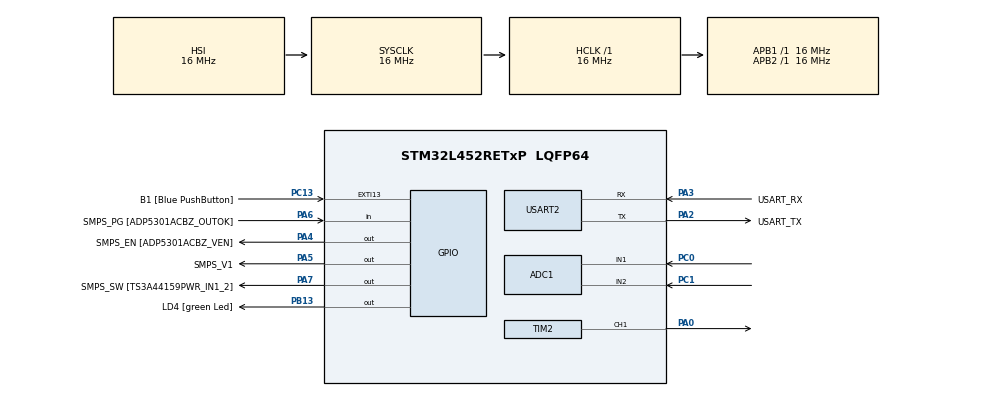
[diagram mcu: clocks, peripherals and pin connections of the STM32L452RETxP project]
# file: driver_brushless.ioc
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ADC1.Channel-1\#ChannelRegularConversion=ADC_CHANNEL_2
ADC1.NbrOfConversionFlag=1
ADC1.OffsetNumber-1\#ChannelRegularConversion=ADC_OFFSET_NONE
ADC1.Rank-1\#ChannelRegularConversion=1
ADC1.SamplingTime-1\#ChannelRegularConversion=ADC_SAMPLETIME_2CYCLES_5
ADC1.master=1
Mcu.Family=STM32L4
Mcu.Name=STM32L452RETxP
Mcu.Package=LQFP64
NVIC.PriorityGroup=NVIC_PRIORITYGROUP_4
PA0.Signal=S_TIM2_CH1
PA13\ (JTMS/SWDIO).GPIO_Label=TMS
PA13\ (JTMS/SWDIO).Mode=Serial_Wire
PA13\ (JTMS/SWDIO).Signal=SYS_JTMS-SWDIO
PA14\ (JTCK/SWCLK).GPIO_Label=TCK
PA14\ (JTCK/SWCLK).Mode=Serial_Wire
PA14\ (JTCK/SWCLK).Signal=SYS_JTCK-SWCLK
PA2.GPIO_Label=USART_TX
PA2.GPIO_Mode=GPIO_MODE_AF_PP
PA2.GPIO_PuPd=GPIO_NOPULL
PA2.GPIO_Speed=GPIO_SPEED_FREQ_VERY_HIGH
PA2.Mode=Asynchronous
PA2.Signal=USART2_TX
PA3.GPIO_Label=USART_RX
PA3.GPIO_Mode=GPIO_MODE_AF_PP
PA3.GPIO_PuPd=GPIO_NOPULL
PA3.GPIO_Speed=GPIO_SPEED_FREQ_VERY_HIGH
PA3.Mode=Asynchronous
PA3.Signal=USART2_RX
PA4.GPIO_Label=SMPS_EN [ADP5301ACBZ_VEN]
PA4.Signal=GPIO_Output
PA5.GPIO_Label=SMPS_V1
PA5.GPIO_ModeDefaultOutputPP=GPIO_MODE_OUTPUT_PP
PA5.GPIO_PuPd=GPIO_NOPULL
PA5.GPIO_Speed=GPIO_SPEED_FREQ_LOW
PA5.Signal=GPIO_Output
PA6.GPIO_Label=SMPS_PG [ADP5301ACBZ_OUTOK]
PA6.GPIO_PuPd=GPIO_PULLUP
PA6.Signal=GPIO_Input
PA7.GPIO_Label=SMPS_SW [TS3A44159PWR_IN1_2]
PA7.Signal=GPIO_Output
PB13.GPIO_Label=LD4 [green Led]
PB13.Signal=GPIO_Output
PB3\ (JTDO/TRACESWO).GPIO_Label=SWO
PB3\ (JTDO/TRACESWO).Signal=SYS_JTDO-SWO
PC0.Signal=ADCx_IN1
PC1.Signal=ADCx_IN2
PC13.GPIO_Label=B1 [Blue PushButton]
PC13.GPIO_ModeDefaultEXTI=GPIO_MODE_IT_FALLING
PC13.GPIO_PuPd=GPIO_NOPULL
PC13.Signal=GPXTI13
PC14-OSC32_IN\ (PC14).Signal=RCC_OSC32_IN
PC15-OSC32_OUT\ (PC15).Signal=RCC_OSC32_OUT
PH0-OSC_IN\ (PH0).GPIO_Label=MCO
PH0-OSC_IN\ (PH0).Signal=RCC_OSC_IN
PH1-OSC_OUT\ (PH1).Signal=RCC_OSC_OUT
ProjectManager.HeapSize=0x200
ProjectManager.StackSize=0x400
ProjectManager.TargetToolchain=STM32CubeIDE
RCC.ADCFreq_Value=64000000
RCC.AHBFreq_Value=16000000
RCC.APB1Freq_Value=16000000
RCC.APB1TimFreq_Value=16000000
RCC.APB2Freq_Value=16000000
RCC.APB2TimFreq_Value=16000000
RCC.CortexFreq_Value=16000000
RCC.HCLKFreq_Value=16000000
RCC.HSE_VALUE=8000000
RCC.HSI48_VALUE=48000000
RCC.HSI_VALUE=16000000
RCC.LSE_VALUE=32768
RCC.MSI_VALUE=4000000
RCC.PLLN=10
RCC.PLLSourceVirtual=RCC_PLLSOURCE_HSI
RCC.PREFETCH_ENABLE=1
RCC.SYSCLKFreq_VALUE=16000000
RCC.SYSCLKSource=RCC_SYSCLKSOURCE_HSI
RCC.USBFreq_Value=64000000
RCC.VCOOutputFreq_Value=160000000
SH.ADCx_IN1.0=ADC1_IN1,IN1-Single-Ended
SH.ADCx_IN2.0=ADC1_IN2,IN2-Single-Ended
SH.S_TIM2_CH1.0=TIM2_CH1,PWM Generation1 CH1
TIM2.AutoReloadPreload=TIM_AUTORELOAD_PRELOAD_ENABLE
TIM2.Channel-PWM\ Generation1\ CH1=TIM_CHANNEL_1
TIM2.Period=65535
USART2.VirtualMode-Asynchronous=VM_ASYNC
VP_TIM2_VS_ClockSourceINT.Mode=Internal
board=NUCLEO-L452RE-P

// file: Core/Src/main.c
/* USER CODE BEGIN Header */
/**
  ******************************************************************************
  * @file           : main.c
  * @brief          : Main program body
  ******************************************************************************
  * @attention
  *
  * Copyright (c) 2023 STMicroelectronics.
  * All rights reserved.
  *
  * This software is licensed under terms that can be found in the LICENSE file
  * in the root directory of this software component.
  * If no LICENSE file comes with this software, it is provided AS-IS.
  *
  ******************************************************************************
  */
/* USER CODE END Header */
#include "main.h"

typedef struct
{
	GPIO_TypeDef * JoyStick_xGPIO;
	GPIO_TypeDef * JoyStick_yGPIO;
	uint16_t       JoyStick_xPIN;
	uint16_t       JoyStick_yPIN;
	ADC_TypeDef*   ADC_Instance;
	uint32_t       ADCx_CH;
	uint32_t       ADCy_CH;
}JoyStick_CfgType;

#define JoyStick1    	0
#define X				0 // potentiometrul de pe oX
#define Y				1 // potentiometrul de pe oY

ADC_HandleTypeDef hadc1;

TIM_HandleTypeDef htim2;

UART_HandleTypeDef huart2;

/* USER CODE BEGIN PV */
ADC_ChannelConfTypeDef sConfig = {0};
uint8_t calibrated = 0;
/* USER CODE END PV */

void SystemClock_Config(void);
static void MX_GPIO_Init(void);
static void MX_USART2_UART_Init(void);
static void MX_TIM2_Init(void);
static void MX_ADC1_Init(void);
/* USER CODE BEGIN PFP */
uint16_t MAP(uint16_t val, uint16_t in_min, uint16_t in_max, uint16_t out_min, uint16_t out_max);
void JoyStick_Init(void);
void JoyStick_Read(uint16_t* JoyStick_XY);
/* USER CODE END PFP */

/* USER CODE BEGIN 0 */
const JoyStick_CfgType JoyStick_CfgParam =
{
	// JoyStick unit 1 Configurations
	// se completeaza cu datele pinilor de la care se face citirea
	GPIOC,
	GPIOC,
	GPIO_PIN_0,
	GPIO_PIN_1,
	ADC1,
	ADC_CHANNEL_1,
	ADC_CHANNEL_2
};
/* USER CODE END 0 */

/**
  * @brief  Comanda motor brushless cu ajutorul driverului Seaking 40A - RTR
  * @retval int
  */
int main(void)
{
  /* variabile locale */
  /* vector cu 2 elem (un elem pentru fiecare potentiometru) */
  uint16_t JoyStick1_XY[] = {0, 0};
  /* tON al PWM-ului */
  uint16_t CH1_DC = 0;

  /* MCU Configuration--------------------------------------------------------*/

  /* Reset of all peripherals, Initializes the Flash interface and the Systick. */
  HAL_Init();

  /* Configure the system clock */
  SystemClock_Config();

  /* Initialize all configured peripherals */
  MX_GPIO_Init();
  MX_USART2_UART_Init();
  MX_TIM2_Init();
  MX_ADC1_Init();
  /* USER CODE BEGIN 2 */
  HAL_TIM_PWM_Start(&htim2, TIM_CHANNEL_1);
  JoyStick_Init();
  /* USER CODE END 2 */

  while (1)
  {
	/* citirea valorilor potentiometrelor */
	JoyStick_Read(JoyStick1_XY);

	/* comanda PWM de pe oY */
	CH1_DC = JoyStick1_XY[X];
	TIM2->CCR1 = MAP(CH1_DC, 400, 2450, 0, 65535);

	/* transmitere PWM catre motor*/
	while(HAL_GPIO_ReadPin(GPIOA, GPIO_PIN_0))
		HAL_GPIO_WritePin(GPIOB, GPIO_PIN_13, GPIO_PIN_SET);

 	HAL_GPIO_WritePin(GPIOB, GPIO_PIN_13, GPIO_PIN_RESET);
  }
}

void SystemClock_Config(void)
{
  RCC_OscInitTypeDef RCC_OscInitStruct = {0};
  RCC_ClkInitTypeDef RCC_ClkInitStruct = {0};

  /** Configure the main internal regulator output voltage
  */
  if (HAL_PWREx_ControlVoltageScaling(PWR_REGULATOR_VOLTAGE_SCALE1) != HAL_OK)
  {
    Error_Handler();
  }

  /** Initializes the RCC Oscillators according to the specified parameters
  * in the RCC_OscInitTypeDef structure.
  */
  RCC_OscInitStruct.OscillatorType = RCC_OSCILLATORTYPE_HSI;
  RCC_OscInitStruct.HSIState = RCC_HSI_ON;
  RCC_OscInitStruct.HSICalibrationValue = RCC_HSICALIBRATION_DEFAULT;
  RCC_OscInitStruct.PLL.PLLState = RCC_PLL_NONE;
  if (HAL_RCC_OscConfig(&RCC_OscInitStruct) != HAL_OK)
  {
    Error_Handler();
  }

  /** Initializes the CPU, AHB and APB buses clocks
  */
  RCC_ClkInitStruct.ClockType = RCC_CLOCKTYPE_HCLK|RCC_CLOCKTYPE_SYSCLK
                              |RCC_CLOCKTYPE_PCLK1|RCC_CLOCKTYPE_PCLK2;
  RCC_ClkInitStruct.SYSCLKSource = RCC_SYSCLKSOURCE_HSI;
  RCC_ClkInitStruct.AHBCLKDivider = RCC_SYSCLK_DIV1;
  RCC_ClkInitStruct.APB1CLKDivider = RCC_HCLK_DIV1;
  RCC_ClkInitStruct.APB2CLKDivider = RCC_HCLK_DIV1;

  if (HAL_RCC_ClockConfig(&RCC_ClkInitStruct, FLASH_LATENCY_0) != HAL_OK)
  {
    Error_Handler();
  }
}

static void MX_ADC1_Init(void)
{

  ADC_ChannelConfTypeDef sConfig = {0};

  /** Common config
  */
  hadc1.Instance = ADC1;
  hadc1.Init.ClockPrescaler = ADC_CLOCK_ASYNC_DIV1;
  hadc1.Init.Resolution = ADC_RESOLUTION_12B;
  hadc1.Init.DataAlign = ADC_DATAALIGN_RIGHT;
  hadc1.Init.ScanConvMode = ADC_SCAN_DISABLE;
  hadc1.Init.EOCSelection = ADC_EOC_SINGLE_CONV;
  hadc1.Init.LowPowerAutoWait = DISABLE;
  hadc1.Init.ContinuousConvMode = DISABLE;
  hadc1.Init.NbrOfConversion = 1;
  hadc1.Init.DiscontinuousConvMode = DISABLE;
  hadc1.Init.ExternalTrigConv = ADC_SOFTWARE_START;
  hadc1.Init.ExternalTrigConvEdge = ADC_EXTERNALTRIGCONVEDGE_NONE;
  hadc1.Init.DMAContinuousRequests = DISABLE;
  hadc1.Init.Overrun = ADC_OVR_DATA_PRESERVED;
  hadc1.Init.OversamplingMode = DISABLE;
  hadc1.Init.DFSDMConfig = ADC_DFSDM_MODE_ENABLE;
  if (HAL_ADC_Init(&hadc1) != HAL_OK)
  {
    Error_Handler();
  }

  /** Configure Regular Channel
  */
  sConfig.Channel = ADC_CHANNEL_2;
  sConfig.Rank = ADC_REGULAR_RANK_1;
  sConfig.SamplingTime = ADC_SAMPLETIME_2CYCLES_5;
  sConfig.SingleDiff = ADC_SINGLE_ENDED;
  sConfig.OffsetNumber = ADC_OFFSET_NONE;
  sConfig.Offset = 0;
  if (HAL_ADC_ConfigChannel(&hadc1, &sConfig) != HAL_OK)
  {
    Error_Handler();
  }

}

static void MX_TIM2_Init(void)
{

  TIM_ClockConfigTypeDef sClockSourceConfig = {0};
  TIM_MasterConfigTypeDef sMasterConfig = {0};
  TIM_OC_InitTypeDef sConfigOC = {0};

  htim2.Instance = TIM2;
  htim2.Init.Prescaler = 0;
  htim2.Init.CounterMode = TIM_COUNTERMODE_UP;
  htim2.Init.Period = 65535;
  htim2.Init.ClockDivision = TIM_CLOCKDIVISION_DIV1;
  htim2.Init.AutoReloadPreload = TIM_AUTORELOAD_PRELOAD_ENABLE;
  if (HAL_TIM_Base_Init(&htim2) != HAL_OK)
  {
    Error_Handler();
  }
  sClockSourceConfig.ClockSource = TIM_CLOCKSOURCE_INTERNAL;
  if (HAL_TIM_ConfigClockSource(&htim2, &sClockSourceConfig) != HAL_OK)
  {
    Error_Handler();
  }
  if (HAL_TIM_PWM_Init(&htim2) != HAL_OK)
  {
    Error_Handler();
  }
  sMasterConfig.MasterOutputTrigger = TIM_TRGO_RESET;
  sMasterConfig.MasterSlaveMode = TIM_MASTERSLAVEMODE_DISABLE;
  if (HAL_TIMEx_MasterConfigSynchronization(&htim2, &sMasterConfig) != HAL_OK)
  {
    Error_Handler();
  }
  sConfigOC.OCMode = TIM_OCMODE_PWM1;
  sConfigOC.Pulse = 0;
  sConfigOC.OCPolarity = TIM_OCPOLARITY_HIGH;
  sConfigOC.OCFastMode = TIM_OCFAST_DISABLE;
  if (HAL_TIM_PWM_ConfigChannel(&htim2, &sConfigOC, TIM_CHANNEL_1) != HAL_OK)
  {
    Error_Handler();
  }
  HAL_TIM_MspPostInit(&htim2);

}

static void MX_USART2_UART_Init(void)
{

  huart2.Instance = USART2;
  huart2.Init.BaudRate = 115200;
  huart2.Init.WordLength = UART_WORDLENGTH_8B;
  huart2.Init.StopBits = UART_STOPBITS_1;
  huart2.Init.Parity = UART_PARITY_NONE;
  huart2.Init.Mode = UART_MODE_TX_RX;
  huart2.Init.HwFlowCtl = UART_HWCONTROL_NONE;
  huart2.Init.OverSampling = UART_OVERSAMPLING_16;
  huart2.Init.OneBitSampling = UART_ONE_BIT_SAMPLE_DISABLE;
  huart2.AdvancedInit.AdvFeatureInit = UART_ADVFEATURE_NO_INIT;
  if (HAL_UART_Init(&huart2) != HAL_OK)
  {
    Error_Handler();
  }

}

static void MX_GPIO_Init(void)
{
  GPIO_InitTypeDef GPIO_InitStruct = {0};

  /* GPIO Ports Clock Enable */
  __HAL_RCC_GPIOC_CLK_ENABLE();
  __HAL_RCC_GPIOH_CLK_ENABLE();
  __HAL_RCC_GPIOA_CLK_ENABLE();
  __HAL_RCC_GPIOB_CLK_ENABLE();

  /*Configure GPIO pin Output Level */
  HAL_GPIO_WritePin(GPIOA, SMPS_EN_Pin|SMPS_V1_Pin|SMPS_SW_Pin, GPIO_PIN_RESET);

  /*Configure GPIO pin Output Level */
  HAL_GPIO_WritePin(LD4_GPIO_Port, LD4_Pin, GPIO_PIN_RESET);

  /*Configure GPIO pin : B1_Pin */
  GPIO_InitStruct.Pin = B1_Pin;
  GPIO_InitStruct.Mode = GPIO_MODE_IT_FALLING;
  GPIO_InitStruct.Pull = GPIO_NOPULL;
  HAL_GPIO_Init(B1_GPIO_Port, &GPIO_InitStruct);

  /*Configure GPIO pins : SMPS_EN_Pin SMPS_V1_Pin SMPS_SW_Pin */
  GPIO_InitStruct.Pin = SMPS_EN_Pin|SMPS_V1_Pin|SMPS_SW_Pin;
  GPIO_InitStruct.Mode = GPIO_MODE_OUTPUT_PP;
  GPIO_InitStruct.Pull = GPIO_NOPULL;
  GPIO_InitStruct.Speed = GPIO_SPEED_FREQ_LOW;
  HAL_GPIO_Init(GPIOA, &GPIO_InitStruct);

  /*Configure GPIO pin : SMPS_PG_Pin */
  GPIO_InitStruct.Pin = SMPS_PG_Pin;
  GPIO_InitStruct.Mode = GPIO_MODE_INPUT;
  GPIO_InitStruct.Pull = GPIO_PULLUP;
  HAL_GPIO_Init(SMPS_PG_GPIO_Port, &GPIO_InitStruct);

  /*Configure GPIO pin : LD4_Pin */
  GPIO_InitStruct.Pin = LD4_Pin;
  GPIO_InitStruct.Mode = GPIO_MODE_OUTPUT_PP;
  GPIO_InitStruct.Pull = GPIO_NOPULL;
  GPIO_InitStruct.Speed = GPIO_SPEED_FREQ_LOW;
  HAL_GPIO_Init(LD4_GPIO_Port, &GPIO_InitStruct);

}

/* USER CODE BEGIN 4 */
uint16_t MAP(uint16_t val, uint16_t in_min, uint16_t in_max, uint16_t out_min, uint16_t out_max)
{
	return (val - in_min) * (out_max - out_min) / (in_max - in_min) + out_min;
}

void JoyStick_Init(void)
{
	GPIO_InitTypeDef GPIO_InitStruct = {0};

	if(JoyStick_CfgParam.JoyStick_xGPIO == GPIOA || JoyStick_CfgParam.JoyStick_yGPIO == GPIOA)
	{
		__HAL_RCC_GPIOA_CLK_ENABLE();
	}
	else if(JoyStick_CfgParam.JoyStick_xGPIO == GPIOB || JoyStick_CfgParam.JoyStick_yGPIO == GPIOB)
	{
		__HAL_RCC_GPIOB_CLK_ENABLE();
	}
	else if(JoyStick_CfgParam.JoyStick_xGPIO == GPIOC || JoyStick_CfgParam.JoyStick_yGPIO == GPIOC)
	{
		__HAL_RCC_GPIOC_CLK_ENABLE();
	}
	else if (JoyStick_CfgParam.JoyStick_xGPIO == GPIOD || JoyStick_CfgParam.JoyStick_yGPIO == GPIOD)
	{
		__HAL_RCC_GPIOD_CLK_ENABLE();
	}
	else if (JoyStick_CfgParam.JoyStick_xGPIO == GPIOE || JoyStick_CfgParam.JoyStick_yGPIO == GPIOE)
	{
		__HAL_RCC_GPIOD_CLK_ENABLE();
	}

	GPIO_InitStruct.Pin = JoyStick_CfgParam.JoyStick_xPIN;
	GPIO_InitStruct.Mode = GPIO_MODE_ANALOG;
    HAL_GPIO_Init(JoyStick_CfgParam.JoyStick_xGPIO, &GPIO_InitStruct);

    GPIO_InitStruct.Pin = JoyStick_CfgParam.JoyStick_yPIN;
    GPIO_InitStruct.Mode = GPIO_MODE_ANALOG;
    HAL_GPIO_Init(JoyStick_CfgParam.JoyStick_yGPIO, &GPIO_InitStruct);

	hadc1.Instance = JoyStick_CfgParam.ADC_Instance;
	hadc1.Init.ScanConvMode = ADC_SCAN_DISABLE;
	hadc1.Init.ContinuousConvMode = DISABLE;
	hadc1.Init.DiscontinuousConvMode = DISABLE;
	hadc1.Init.ExternalTrigConv = ADC_SOFTWARE_START;
	hadc1.Init.DataAlign = ADC_DATAALIGN_RIGHT;
	hadc1.Init.NbrOfConversion = 1;
	HAL_ADC_Init(&hadc1);
    sConfig.Channel = JoyStick_CfgParam.ADCx_CH;
	sConfig.Rank = ADC_REGULAR_RANK_1;
	sConfig.SamplingTime = ADC_SAMPLETIME_24CYCLES_5;
	HAL_ADC_ConfigChannel(&hadc1, &sConfig);

	if(calibrated == 0)
	{
		HAL_ADCEx_Calibration_Start(&hadc1, ADC_SINGLE_ENDED);
		calibrated = 1;
	}
}

void JoyStick_Read(uint16_t* JoyStick_XY)
{
	uint32_t AD_RES;

	// Select The JoyStick Instance ADC Channel For X
	sConfig.Channel = JoyStick_CfgParam.ADCx_CH;
    HAL_ADC_ConfigChannel(&hadc1, &sConfig);
	// Start ADC Conversion
	HAL_ADC_Start(&hadc1);
	// Poll ADC1 Peripheral & TimeOut = 1mSec
	HAL_ADC_PollForConversion(&hadc1, 1);
	// Read The ADC Conversion Result Write It To JoyStick X
	AD_RES = HAL_ADC_GetValue(&hadc1);
	JoyStick_XY[0] = AD_RES;

	// Select The JoyStick Instance ADC Channel For Y
	sConfig.Channel = JoyStick_CfgParam.ADCy_CH;
	HAL_ADC_ConfigChannel(&hadc1, &sConfig);
	// Start ADC Conversion
	HAL_ADC_Start(&hadc1);
	// Poll ADC1 Peripheral & TimeOut = 1mSec
	HAL_ADC_PollForConversion(&hadc1, 1);
	// Read The ADC Conversion Result Write It To JoyStick Y
	AD_RES = HAL_ADC_GetValue(&hadc1);
	JoyStick_XY[1] = AD_RES;
}

/* USER CODE END 4 */

void Error_Handler(void)
{
  __disable_irq();
  while (1)
  {
  }
}
